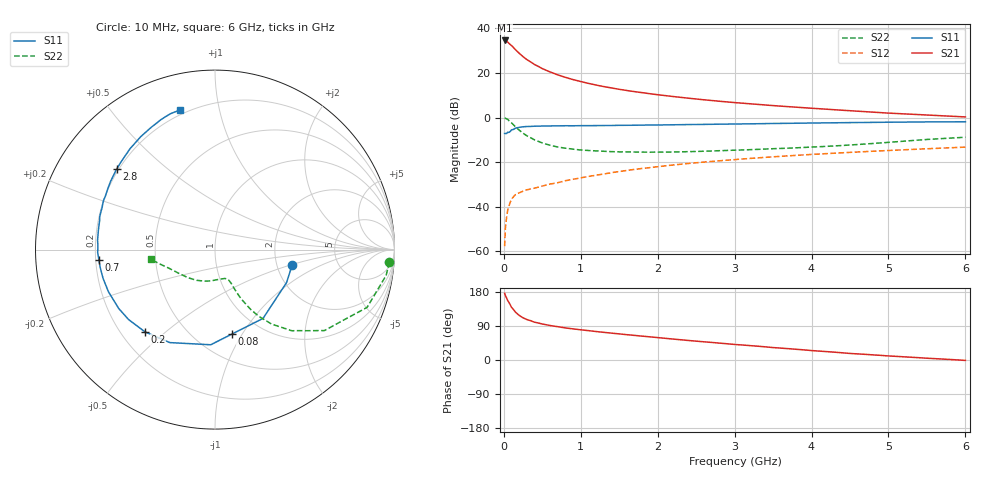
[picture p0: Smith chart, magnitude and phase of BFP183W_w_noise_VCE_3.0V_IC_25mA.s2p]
! (c) 2017  Infineon Technologies AG, Munich
! Infineon Technologies  Discrete & RF Semiconductors
! BFP183W
! VCE =  3.0 V,  IC =  25 mA
! Common Emitter S-Parameters:  Jan 2017
# GHz  S  MA  R  50
!  f  S11  S21  S12  S22
! GHz  MAG  ANG  MAG  ANG  MAG  ANG  MAG  ANG
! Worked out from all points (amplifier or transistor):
!   77 points, 10 MHz to 6 GHz, reference 50 ohm
!   highest |S21| = 34.6 dB at 10 MHz (marker M1)
!   |S21| within 3 dB of that: start of sweep to 120 MHz
!   unconditionally stable (mu >= 1): 986.8 MHz to 3.486 GHz
!   at 130 MHz: K = 0.28, MSG = 33.3 dB, |S12| = -35.4 dB
!   at 2.2 GHz: K = 1.06, MAG = 13.8 dB, |S12| = -21.3 dB
!   at 6 GHz: K = 0.88, MSG = 6.8 dB, |S12| = -13.3 dB
!   lowest NFmin = 1.29 dB at 450 MHz
!   S11 on the Smith chart (normalised r, x): 10 MHz: 2.43, -0.52; 80 MHz: 0.74, -0.90; 200 MHz: 0.30, -0.43; 700 MHz: 0.21, -0.04; 2.8 GHz: 0.19, +0.35; 6 GHz: 0.18, +0.77
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0.01  0.4386 -11.3  53.51 175.9  0.0013 81.0  0.9743 -4.1
0.02  0.439 -24.8  53.02 170.3  0.0032 94.7  0.9641 -8.6
0.05  0.4675 -55.1  49.27 157.0  0.0083 73.1  0.9064 -20.8
0.08  0.4805 -78.9  43.86 146.9  0.0121 62.2  0.8101 -29.5
0.1  0.5308 -92.6  41.16 138.9  0.0147 58.1  0.7585 -36.5
0.15  0.576 -115.9  33.48 126.5  0.0186 51.7  0.6223 -46.6
0.2  0.602 -130.5  27.54 117.7  0.0205 49.2  0.5204 -52.8
0.25  0.6195 -141.0  23.2 111.3  0.0223 46.6  0.4446 -56.7
0.3  0.6287 -148.5  19.88 106.7  0.0239 45.6  0.3882 -59.2
0.4  0.6385 -158.5  15.42 99.7  0.0261 47.1  0.314 -61.9
0.5  0.6439 -165.6  12.51 95.0  0.029 49.1  0.2687 -63.1
0.6  0.6471 -170.8  10.54 91.1  0.0322 50.9  0.2387 -63.8
0.7  0.6494 -174.9  9.063 87.9  0.0344 53.9  0.2181 -64.1
0.9  0.6525 178.3  7.08 82.1  0.0412 56.3  0.195 -65.2
1.1  0.6571 172.7  5.831 77.5  0.0477 58.1  0.1821 -66.5
1.5  0.668 164.0  4.292 68.9  0.0614 59.9  0.1697 -71.5
2.1  0.6829 152.2  3.098 57.2  0.0824 59.7  0.1677 -84.6
2.8  0.7088 140.5  2.319 44.6  0.1069 57.2  0.1801 -103.1
3.1  0.7181 135.9  2.096 39.6  0.1173 55.5  0.1873 -111.1
4.1  0.7554 122.2  1.573 23.5  0.1518 49.8  0.2211 -136.7
5.1  0.7866 111.6  1.231 9.6  0.1854 43.5  0.2856 -159.9
6  0.8021 103.9  1.03 -1.1  0.2165 37.3  0.3608 -171.3
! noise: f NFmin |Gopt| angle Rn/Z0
0.45  1.29  0.25  177  0.1
0.9  1.32  0.28  180  0.09
1.9  1.8  0.43  -158  0.09
2.4  2.04  0.48  -154  0.13
